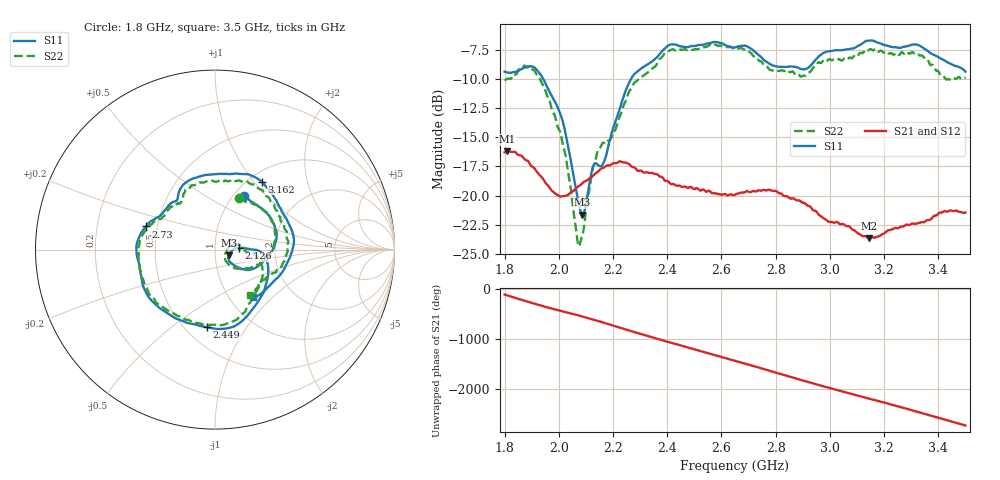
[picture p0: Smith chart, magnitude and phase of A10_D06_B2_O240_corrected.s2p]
! Created with skrf 1.9.0 (http://scikit-rf.org).
# Hz S RI R 50.0
!freq ReS11 ImS11 ReS21 ImS21 ReS12 ImS12 ReS22 ImS22
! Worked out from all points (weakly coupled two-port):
!   1601 points, 1.8 GHz to 3.5 GHz, reference 50 ohm
!   highest |S21| = -16.22 dB at 1.811 GHz (marker M1); lowest = -23.6 dB at 3.144 GHz (marker M2)
!   lowest |S11| = -21.6 dB at 2.087 GHz (marker M3), VSWR 1.18, Z = 58.1 - j3.78 ohm
!   |S11| at or under -10 dB: 1.942 GHz to 2.267 GHz (324.5 MHz wide, 15.4 % of centre)
!   |S22| runs from -24.3 to -7.1 dB; largest |S21 - S12| = 0.0026
!   S11 on the Smith chart (normalised r, x): 1.8 GHz: 1.12, +0.75; 2.126 GHz: 1.30, +0.02; 2.449 GHz: 0.63, -0.67; 2.73 GHz: 0.43, +0.13; 3.162 GHz: 1.14, +1.10; 3.5 GHz: 1.27, -0.77
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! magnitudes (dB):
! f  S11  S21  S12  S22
! 1.8 GHz  -9.4  -16.3  -16.3  -10.0
! 1.811 GHz  -9.5  -16.2  -16.2  -10.0
! 1.88 GHz  -9.0  -17.0  -17.0  -9.0
! 1.942 GHz  -10.0  -18.6  -18.6  -10.6
! 2.013 GHz  -13.5  -20.1  -20.1  -15.4
! 2.068 GHz  -20.0  -19.3  -19.3  -23.7
! 2.084 GHz  -21.6  -19.0  -19.0  -23.6
! 2.087 GHz  -21.6  -18.9  -18.9  -23.4
! 2.126 GHz  -17.5  -18.3  -18.3  -17.6
! 2.167 GHz  -17.1  -17.6  -17.6  -15.5
! 2.268 GHz  -10.0  -17.5  -17.4  -10.8
! 2.367 GHz  -8.0  -18.3  -18.2  -8.5
! 2.449 GHz  -7.2  -19.2  -19.2  -7.5
! 2.65 GHz  -7.3  -19.9  -19.9  -7.4
! 2.73 GHz  -7.8  -19.6  -19.7  -8.2
! 2.934 GHz  -8.8  -21.1  -21.1  -9.2
! 3.144 GHz  -6.7  -23.6  -23.6  -7.5
! 3.162 GHz  -6.8  -23.6  -23.5  -7.5
! 3.217 GHz  -7.2  -23.0  -22.9  -7.8
! 3.325 GHz  -7.1  -22.4  -22.3  -7.9
! 3.429 GHz  -8.5  -21.4  -21.3  -10.1
! 3.5 GHz  -9.4  -21.5  -21.4  -10.0
